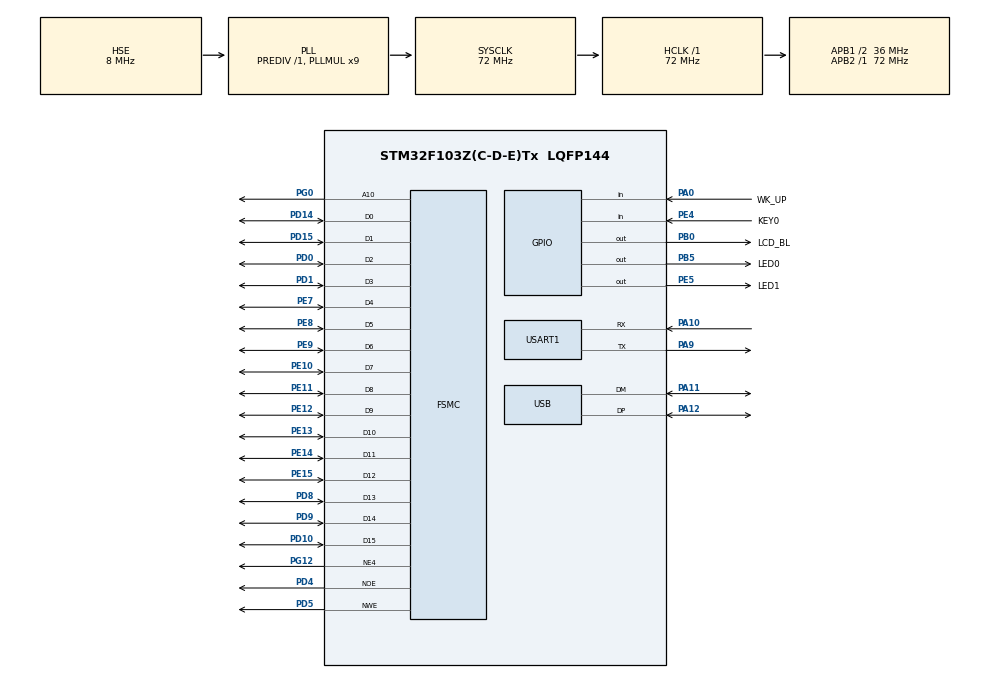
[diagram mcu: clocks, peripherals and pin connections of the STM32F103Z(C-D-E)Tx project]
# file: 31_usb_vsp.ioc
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FSMC.AddressSetupTime1=0
FSMC.DataSetupTime1=15
FSMC.ExtendedAddressSetupTime1=0
FSMC.ExtendedDataSetupTime1=1
FSMC.ExtendedMode1=FSMC_EXTENDED_MODE_ENABLE
Mcu.Family=STM32F1
Mcu.Name=STM32F103Z(C-D-E)Tx
Mcu.Package=LQFP144
NVIC.PriorityGroup=NVIC_PRIORITYGROUP_2
NVIC.USART1_IRQn=true\:2\:2\:true\:false\:true\:true\:true\:true
NVIC.USB_LP_CAN1_RX0_IRQn=true\:0\:0\:false\:false\:true\:false\:true\:true
OSC_IN.Mode=HSE-External-Oscillator
OSC_IN.Signal=RCC_OSC_IN
OSC_OUT.Mode=HSE-External-Oscillator
OSC_OUT.Signal=RCC_OSC_OUT
PA0-WKUP.GPIO_Label=WK_UP
PA0-WKUP.GPIO_PuPd=GPIO_PULLDOWN
PA0-WKUP.Signal=GPIO_Input
PA10.Mode=Asynchronous
PA10.Signal=USART1_RX
PA11.Mode=Device
PA11.Signal=USB_DM
PA12.Mode=Device
PA12.Signal=USB_DP
PA13.Mode=Serial_Wire
PA13.Signal=SYS_JTMS-SWDIO
PA14.Mode=Serial_Wire
PA14.Signal=SYS_JTCK-SWCLK
PA9.Mode=Asynchronous
PA9.Signal=USART1_TX
PB0.GPIO_Label=LCD_BL
PB0.GPIO_PuPd=GPIO_PULLUP
PB0.GPIO_Speed=GPIO_SPEED_FREQ_HIGH
PB0.PinState=GPIO_PIN_SET
PB0.Signal=GPIO_Output
PB5.GPIO_Label=LED0
PB5.GPIO_PuPd=GPIO_PULLDOWN
PB5.GPIO_Speed=GPIO_SPEED_FREQ_HIGH
PB5.PinState=GPIO_PIN_SET
PB5.Signal=GPIO_Output
PC14-OSC32_IN.Mode=LSE-External-Oscillator
PC14-OSC32_IN.Signal=RCC_OSC32_IN
PC15-OSC32_OUT.Mode=LSE-External-Oscillator
PC15-OSC32_OUT.Signal=RCC_OSC32_OUT
PD0.Signal=FSMC_D2_DA2
PD1.Signal=FSMC_D3_DA3
PD10.Signal=FSMC_D15_DA15
PD14.Signal=FSMC_D0_DA0
PD15.Signal=FSMC_D1_DA1
PD4.Signal=FSMC_NOE
PD5.Signal=FSMC_NWE
PD8.Signal=FSMC_D13_DA13
PD9.Signal=FSMC_D14_DA14
PE10.Signal=FSMC_D7_DA7
PE11.Signal=FSMC_D8_DA8
PE12.Signal=FSMC_D9_DA9
PE13.Signal=FSMC_D10_DA10
PE14.Signal=FSMC_D11_DA11
PE15.Signal=FSMC_D12_DA12
PE4.GPIO_Label=KEY0
PE4.GPIO_PuPd=GPIO_PULLDOWN
PE4.Signal=GPIO_Input
PE5.GPIO_Label=LED1
PE5.GPIO_PuPd=GPIO_PULLDOWN
PE5.GPIO_Speed=GPIO_SPEED_FREQ_HIGH
PE5.PinState=GPIO_PIN_SET
PE5.Signal=GPIO_Output
PE7.Signal=FSMC_D4_DA4
PE8.Signal=FSMC_D5_DA5
PE9.Signal=FSMC_D6_DA6
PG0.Signal=FSMC_A10
PG12.Mode=NorPsramChipSelect4_1
PG12.Signal=FSMC_NE4
ProjectManager.HeapSize=0x200
ProjectManager.StackSize=0x400
ProjectManager.TargetToolchain=STM32CubeIDE
RCC.AHBFreq_Value=72000000
RCC.APB1CLKDivider=RCC_HCLK_DIV2
RCC.APB1Freq_Value=36000000
RCC.APB1TimFreq_Value=72000000
RCC.APB2Freq_Value=72000000
RCC.APB2TimFreq_Value=72000000
RCC.HCLKFreq_Value=72000000
RCC.PLLMUL=RCC_PLL_MUL9
RCC.PLLSourceVirtual=RCC_PLLSOURCE_HSE
RCC.SYSCLKFreq_VALUE=72000000
RCC.SYSCLKSource=RCC_SYSCLKSOURCE_PLLCLK
RCC.USBFreq_Value=48000000
RCC.USBPrescaler=RCC_USBCLKSOURCE_PLL_DIV1_5
SH.FSMC_A10.0=FSMC_A10,A10_1
SH.FSMC_D0_DA0.0=FSMC_D0,16b-d1
SH.FSMC_D10_DA10.0=FSMC_D10,16b-d1
SH.FSMC_D11_DA11.0=FSMC_D11,16b-d1
SH.FSMC_D12_DA12.0=FSMC_D12,16b-d1
SH.FSMC_D13_DA13.0=FSMC_D13,16b-d1
SH.FSMC_D14_DA14.0=FSMC_D14,16b-d1
SH.FSMC_D15_DA15.0=FSMC_D15,16b-d1
SH.FSMC_D1_DA1.0=FSMC_D1,16b-d1
SH.FSMC_D2_DA2.0=FSMC_D2,16b-d1
SH.FSMC_D3_DA3.0=FSMC_D3,16b-d1
SH.FSMC_D4_DA4.0=FSMC_D4,16b-d1
SH.FSMC_D5_DA5.0=FSMC_D5,16b-d1
SH.FSMC_D6_DA6.0=FSMC_D6,16b-d1
SH.FSMC_D7_DA7.0=FSMC_D7,16b-d1
SH.FSMC_D8_DA8.0=FSMC_D8,16b-d1
SH.FSMC_D9_DA9.0=FSMC_D9,16b-d1
SH.FSMC_NOE.0=FSMC_NOE,Lcd1
SH.FSMC_NWE.0=FSMC_NWE,Lcd1
USART1.VirtualMode=VM_ASYNC
USB_DEVICE.CLASS_NAME_FS=CDC
USB_DEVICE.VirtualMode=Cdc
USB_DEVICE.VirtualModeFS=Cdc_FS
VP_USB_DEVICE_VS_USB_DEVICE_CDC_FS.Mode=CDC_FS
board=custom

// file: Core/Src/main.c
/* USER CODE BEGIN Header */
/**
 ****************************************************************************************************
 * @file        main.c
 * @author      ALIENTEK
 * @brief       usb virtual serial port code
 * @license     Copyright (C) 2012-2024, ALIENTEK
 ****************************************************************************************************
 * @attention
 *
 * platform     : ALIENTEK M144-STM32F103 board
 * website      : www.alientek.com
 * forum        : www.openedv.com/forum.php
 *
 * change logs  :
 * version      data         notes
 * V1.0         20240410     the first version
 *
 ****************************************************************************************************
 */
/* USER CODE END Header */
#include "main.h"
#include "usart.h"
#include "usb_device.h"
#include "gpio.h"
#include "fsmc.h"

/* USER CODE BEGIN Includes */
#include "../../BSP/LED/led.h"
#include "../../BSP/KEY/key.h"
#include "../../BSP/LCD/lcd.h"
#include "../../ATK_Middlewares/MALLOC/malloc.h"
#include "usbd_cdc_if.h"
/* USER CODE END Includes */

/* USER CODE BEGIN PTD */

extern volatile uint8_t g_device_state;     /* USB connection condition */

/* USER CODE END PTD */

void SystemClock_Config(void);

int main(void)
{
  /* USER CODE BEGIN 1 */
	uint16_t len;
	uint16_t times = 0;
	uint8_t usbstatus = 0;
  /* USER CODE END 1 */

  /* MCU Configuration--------------------------------------------------------*/

  /* Reset of all peripherals, Initializes the Flash interface and the Systick. */
  HAL_Init();

  /* Configure the system clock */
  SystemClock_Config();

  /* Initialize all configured peripherals */
  MX_GPIO_Init();
  MX_USART1_UART_Init();
  MX_FSMC_Init();
  MX_USB_DEVICE_Init();
  /* USER CODE BEGIN 2 */

  lcd_init();
  my_mem_init(SRAMIN);                /* Initialize the internal SRAM memory pool */
  lcd_show_string(30, 50, 200, 16, 16, "STM32", RED);
  lcd_show_string(30, 70, 200, 16, 16, "USB_VSP TEST", RED);
  lcd_show_string(30, 90, 200, 16, 16, "ATOM@ALIENTEK", RED);

  lcd_show_string(30, 110, 200, 16, 16, "USB Connecting...", RED); /* Prompts USB to start connecting */

  usbd_port_config(0);    /* The usb cable is disconnected */
  HAL_Delay(500);
  usbd_port_config(1);    /* USB connection again */
  HAL_Delay(500);

  /* USER CODE END 2 */

  /* Infinite loop */
  while (1)
  {
	  if (usbstatus != g_device_state)   /* The USB connection state has changed */
	  {
	  	  usbstatus = g_device_state;    /* Logging new status */

	  	  if (usbstatus == 1)
	  	  {
	  		  lcd_show_string(30, 110, 200, 16, 16, "USB Connected    ", RED); /* USB connection is successful */
	  		  LED1(0);    /* LED1 flashes */
	  	  }
	  	  else
	  	  {
	  		  lcd_show_string(30, 110, 200, 16, 16, "USB disConnected ", RED); /* USB disconnection is prompted */
	  		  LED1(1);    /* turn off LED1 */
	  	  }
	  }

	  if (g_usb_usart_rx_sta & 0x8000)
	  {
	  	  len = g_usb_usart_rx_sta & 0x3FFF;  /* Get the length of the received data */
	  	  usb_printf("\r\nThe length of the message you send is:%d\r\n\r\n", len);
	  	  cdc_vcp_data_tx(g_usb_usart_rx_buffer, len);
	  	  usb_printf("\r\n\r\n");            /* Inserting line breaks */
	  	  g_usb_usart_rx_sta = 0;
	  }
	  else
	  {
	  	  times++;

	  	  if (times % 5000 == 0)
	  	  {
	  		  usb_printf("\r\nUSB Virtual USART TEST\r\n");
	  		  usb_printf("ALIENTEK@ALIENTEK\r\n\r\n");
	  	  }

	  	  if (times % 200 == 0)usb_printf("Please enter data and end with the ENTER key\r\n");

	  	  if (times % 30 == 0)
	  	  {
	  		  LED0_TOGGLE();  /* LED0 blinks to indicate that the code is running */
	  	  }

	  	  HAL_Delay(10);       /* delay 10ms */
	  }

  }
}

void SystemClock_Config(void)
{
  RCC_OscInitTypeDef RCC_OscInitStruct = {0};
  RCC_ClkInitTypeDef RCC_ClkInitStruct = {0};
  RCC_PeriphCLKInitTypeDef PeriphClkInit = {0};

  /** Initializes the RCC Oscillators according to the specified parameters
  * in the RCC_OscInitTypeDef structure.
  */
  RCC_OscInitStruct.OscillatorType = RCC_OSCILLATORTYPE_HSE;
  RCC_OscInitStruct.HSEState = RCC_HSE_ON;
  RCC_OscInitStruct.HSEPredivValue = RCC_HSE_PREDIV_DIV1;
  RCC_OscInitStruct.HSIState = RCC_HSI_ON;
  RCC_OscInitStruct.PLL.PLLState = RCC_PLL_ON;
  RCC_OscInitStruct.PLL.PLLSource = RCC_PLLSOURCE_HSE;
  RCC_OscInitStruct.PLL.PLLMUL = RCC_PLL_MUL9;
  if (HAL_RCC_OscConfig(&RCC_OscInitStruct) != HAL_OK)
  {
    Error_Handler();
  }

  /** Initializes the CPU, AHB and APB buses clocks
  */
  RCC_ClkInitStruct.ClockType = RCC_CLOCKTYPE_HCLK|RCC_CLOCKTYPE_SYSCLK
                              |RCC_CLOCKTYPE_PCLK1|RCC_CLOCKTYPE_PCLK2;
  RCC_ClkInitStruct.SYSCLKSource = RCC_SYSCLKSOURCE_PLLCLK;
  RCC_ClkInitStruct.AHBCLKDivider = RCC_SYSCLK_DIV1;
  RCC_ClkInitStruct.APB1CLKDivider = RCC_HCLK_DIV2;
  RCC_ClkInitStruct.APB2CLKDivider = RCC_HCLK_DIV1;

  if (HAL_RCC_ClockConfig(&RCC_ClkInitStruct, FLASH_LATENCY_2) != HAL_OK)
  {
    Error_Handler();
  }
  PeriphClkInit.PeriphClockSelection = RCC_PERIPHCLK_USB;
  PeriphClkInit.UsbClockSelection = RCC_USBCLKSOURCE_PLL_DIV1_5;
  if (HAL_RCCEx_PeriphCLKConfig(&PeriphClkInit) != HAL_OK)
  {
    Error_Handler();
  }
}

void Error_Handler(void)
{
  __disable_irq();
  while (1)
  {
  }
}
